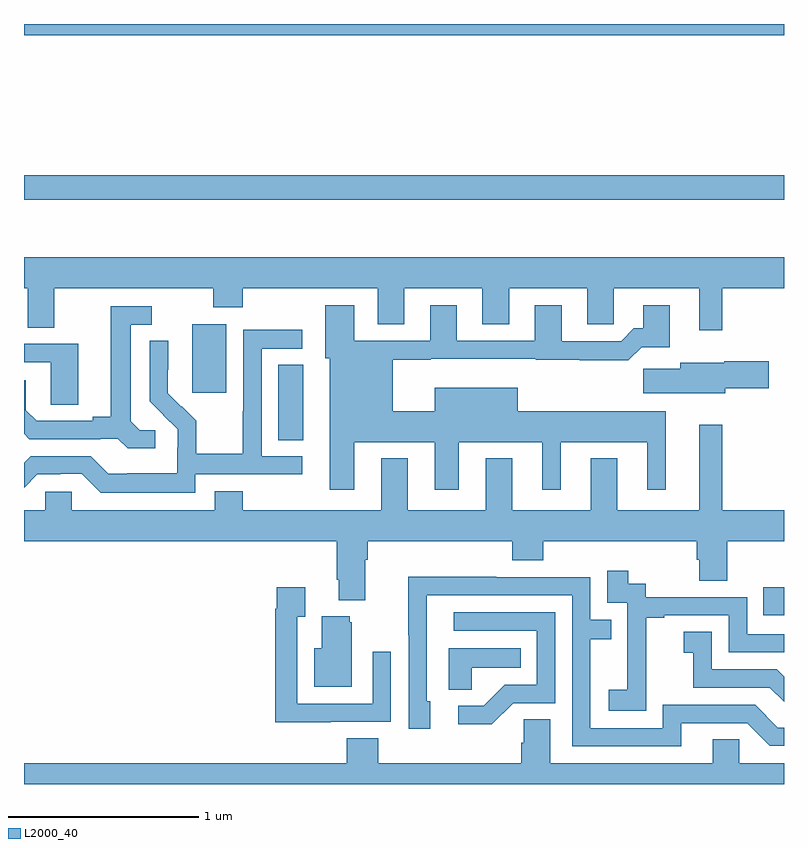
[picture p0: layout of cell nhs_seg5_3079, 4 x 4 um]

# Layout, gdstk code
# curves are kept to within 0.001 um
import gdstk
lib = gdstk.Library(unit=1e-6, precision=1e-09)
def R(c, l, rs):  # rectangles x0, y0, x1, y1
    for r in rs: c.add(gdstk.rectangle(r[:2], r[2:], *l))
def P(c, l, *ps):  # polygons
    for p in ps: c.add(gdstk.Polygon(p, *l))
L2000_40 = (2000, 40)

nhs_seg5_3079 = lib.new_cell('nhs_seg5_3079')
R(nhs_seg5_3079, L2000_40, [(292.891,873.687,293,873.835), (290.339,874.609,290.47,875.006), (289.886,874.857,290.065,875.218), (289,875.874,293,876.002), (289,876.74,293,876.799)])
P(nhs_seg5_3079, L2000_40, [(292.675,875.408),(293,875.408),(293,875.572),(289,875.572),(289,875.408),(289.019,875.408),(289.019,875.2),(289.159,875.2),(289.159,875.408),(289.996,875.408),(289.996,875.309),(290.151,875.309),(290.151,875.408),(290.861,875.408),(290.861,875.218),(291.001,875.218),(291.001,875.408),(291.413,875.408),(291.413,875.218),(291.553,875.218),(291.553,875.408),(291.965,875.408),(291.965,875.218),(292.104,875.218),(292.104,875.408),(292.553,875.408),(292.553,875.187),(292.675,875.187)],
  [(290.737,874.598),(291.161,874.598),(291.161,874.347),(291.289,874.347),(291.289,874.598),(291.728,874.598),(291.728,874.347),(291.826,874.347),(291.826,874.598),(292.28,874.598),(292.28,874.347),(292.378,874.347),(292.378,874.762),(291.598,874.762),(291.598,874.885),(291.161,874.885),(291.161,874.762),(290.941,874.762),(290.941,875.032),(291.141,875.032),(291.141,875.036),(291.693,875.036),(291.693,875.032),(291.925,875.032),(291.925,875.03),(292.181,875.03),(292.25,875.099),(292.399,875.099),(292.399,875.32),(292.259,875.32),(292.259,875.197),(292.21,875.197),(292.143,875.13),(291.829,875.13),(291.829,875.32),(291.689,875.32),(291.689,875.133),(291.277,875.133),(291.277,875.32),(291.137,875.32),(291.137,875.133),(290.737,875.133),(290.737,875.32),(290.585,875.32),(290.585,875.04),(290.609,875.04),(290.609,874.347),(290.737,874.347)],
  [(289.69,874.662),(289.608,874.662),(289.561,874.709),(289.561,875.217),(289.672,875.217),(289.672,875.313),(289.457,875.313),(289.457,874.733),(289.361,874.733),(289.361,874.71),(289.066,874.71),(289.009,874.767),(289.009,874.924),(289,874.924),(289,874.642),(289.028,874.614),(289.4,874.614),(289.4,874.617),(289.494,874.617),(289.546,874.565),(289.69,874.565)],
  [(289.902,874.428),(290.464,874.428),(290.464,874.524),(290.25,874.524),(290.25,875.091),(290.464,875.091),(290.464,875.19),(290.154,875.19),(290.154,874.76),(290.152,874.76),(290.152,874.537),(289.907,874.537),(289.907,874.711),(289.83,874.788),(289.827,874.785),(289.757,874.856),(289.758,875.132),(289.662,875.132),(289.662,874.814),(289.808,874.666),(289.808,874.569),(289.806,874.569),(289.806,874.435),(289.543,874.435),(289.543,874.431),(289.443,874.431),(289.35,874.524),(289.035,874.524),(289,874.489),(289,874.357),(289.071,874.428),(289.19,874.428),(289.19,874.431),(289.305,874.431),(289.405,874.331),(289.902,874.331)],
  [(289.285,875.115),(289,875.115),(289,875.019),(289.14,875.019),(289.14,874.795),(289.285,874.795)],
  [(292.69,874.883),(292.921,874.883),(292.921,875.025),(292.686,875.025),(292.686,875.017),(292.454,875.017),(292.454,874.985),(292.26,874.985),(292.26,874.856),(292.69,874.856)],
  [(290.797,873.98),(290.81,873.98),(290.81,874.076),(291.569,874.076),(291.569,873.977),(291.734,873.977),(291.734,874.076),(292.541,874.076),(292.541,873.978),(292.553,873.978),(292.553,873.868),(292.701,873.868),(292.701,874.076),(293,874.076),(293,874.24),(292.675,874.24),(292.675,874.69),(292.553,874.69),(292.553,874.24),(292.123,874.24),(292.123,874.513),(291.983,874.513),(291.983,874.24),(291.571,874.24),(291.571,874.513),(291.431,874.513),(291.431,874.24),(291.019,874.24),(291.019,874.513),(290.879,874.513),(290.879,874.24),(290.151,874.24),(290.151,874.339),(290.003,874.339),(290.003,874.24),(289.251,874.24),(289.251,874.338),(289.113,874.338),(289.113,874.24),(289,874.24),(289,874.076),(290.645,874.076),(290.645,873.874),(290.657,873.874),(290.657,873.767),(290.797,873.767)],
  [(292.275,873.391),(292.274,873.391),(292.274,873.675),(292.369,873.675),(292.369,873.687),(292.71,873.687),(292.71,873.492),(293,873.492),(293,873.588),(292.806,873.588),(292.806,873.783),(292.272,873.783),(292.272,873.852),(292.18,873.852),(292.18,873.922),(292.071,873.922),(292.071,873.753),(292.176,873.753),(292.176,873.524),(292.175,873.524),(292.175,873.295),(292.077,873.295),(292.077,873.185),(292.275,873.185)],
  [(292.459,873.12),(292.806,873.12),(292.926,873),(293,873),(293,873.096),(292.968,873.096),(292.848,873.216),(292.362,873.216),(292.362,873.093),(291.981,873.093),(291.981,873.562),(292.091,873.562),(292.091,873.663),(291.981,873.663),(291.981,873.888),(291.485,873.888),(291.485,873.89),(291.022,873.89),(291.022,873.583),(291.024,873.583),(291.024,873.09),(291.139,873.09),(291.139,873.234),(291.12,873.234),(291.12,873.792),(291.885,873.792),(291.885,872.997),(292.459,872.997)],
  [(290.615,873.126),(290.931,873.126),(290.931,873.496),(290.835,873.496),(290.835,873.222),(290.439,873.222),(290.439,873.679),(290.479,873.679),(290.479,873.835),(290.331,873.835),(290.331,873.722),(290.323,873.722),(290.323,873.125),(290.615,873.125)],
  [(291.576,873.225),(291.795,873.225),(291.795,873.702),(291.261,873.702),(291.261,873.606),(291.699,873.606),(291.699,873.321),(291.53,873.321),(291.419,873.21),(291.285,873.21),(291.285,873.113),(291.463,873.113)],
  [(290.725,873.651),(290.714,873.651),(290.714,873.682),(290.567,873.682),(290.567,873.514),(290.528,873.514),(290.528,873.311),(290.725,873.311)],
  [(293,873.364),(292.962,873.402),(292.62,873.402),(292.62,873.601),(292.473,873.601),(292.473,873.491),(292.522,873.491),(292.522,873.306),(292.925,873.306),(293,873.231)],
  [(291.357,873.41),(291.614,873.41),(291.614,873.514),(291.236,873.514),(291.236,873.295),(291.357,873.295)],
  [(293,872.908),(292.764,872.908),(292.764,873.035),(292.625,873.035),(292.625,872.908),(291.769,872.908),(291.769,873.14),(291.63,873.14),(291.63,873.017),(291.617,873.017),(291.617,872.908),(290.864,872.908),(290.864,873.041),(290.699,873.041),(290.699,872.908),(289,872.908),(289,872.799),(293,872.799)])

lib.write_gds('nhs_seg5_3079.gds')
